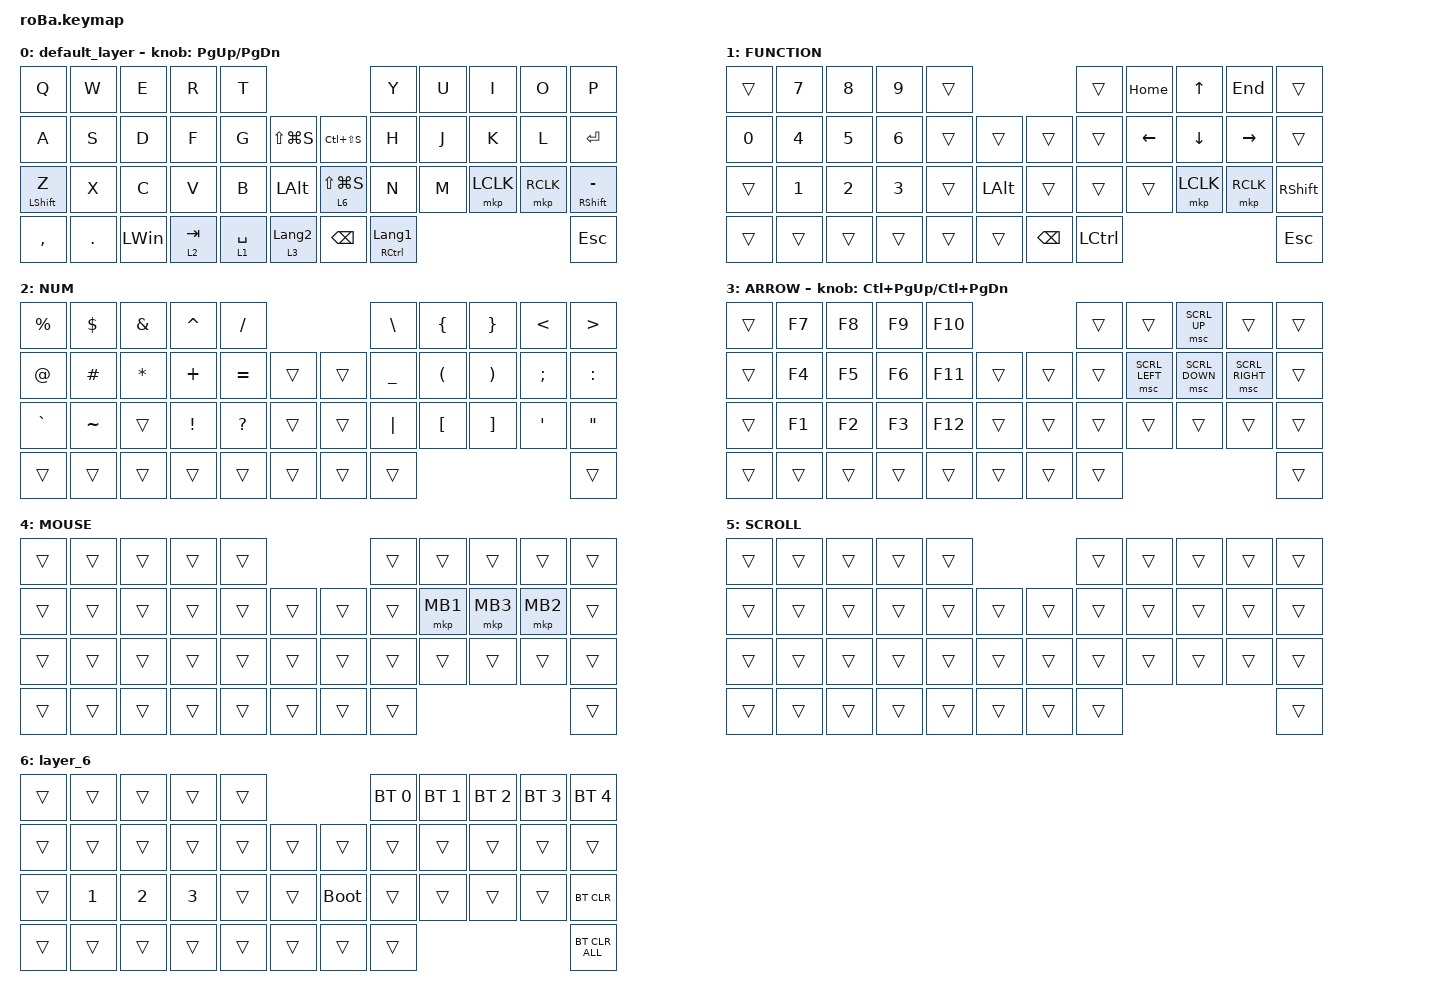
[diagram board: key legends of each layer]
#include <behaviors.dtsi>
#include <dt-bindings/zmk/bt.h>
#include <dt-bindings/zmk/keys.h>
#include <dt-bindings/zmk/pointing.h>

&mt {
    flavor = "balanced";
    quick-tap-ms = <0>;
};

&trackball {
    //automouse-layer = <4>;

    scroll-layers = <3>;

    // arrows {
    //     layers = <3>;
    //     bindings =
    //         <&kp RIGHT_ARROW>,
    //         <&kp LEFT_ARROW>,
    //         <&kp UP_ARROW>,
    //         <&kp DOWN_ARROW>;
    //     tick = <10>;
    //     wait-ms = <5>;
    //     tap-ms = <5>;
    // };
};

/ {
    combos {
        compatible = "zmk,combos";

        tab {
            bindings = <&kp TAB>;
            key-positions = <11 12>;
        };

        shift_tab {
            bindings = <&kp LS(TAB)>;
            key-positions = <12 13>;
        };

        muhennkann {
            bindings = <&to_layer_0 INT_MUHENKAN>;
            key-positions = <11 10>;
        };

        double_quotation {
            bindings = <&kp DOUBLE_QUOTES>;
            key-positions = <20 21>;
        };

        eq {
            bindings = <&kp EQUAL>;
            key-positions = <24 25>;
        };
    };

    macros {
        to_layer_0: to_layer_0 {
            compatible = "zmk,behavior-macro-one-param";
            #binding-cells = <1>;
            bindings = <&to 0 &macro_param_1to1 &kp MACRO_PLACEHOLDER>;
            label = "TO_LAYER_0";
        };
    };

    behaviors {
        lt_to_layer_0: lt_to_layer_0 {
            compatible = "zmk,behavior-hold-tap";
            label = "LAYER_TAP_TO_0";
            bindings = <&mo>, <&to_layer_0>;

            #binding-cells = <2>;
            tapping-term-ms = <200>;
        };
    };

    keymap {
        compatible = "zmk,keymap";

        default_layer {
            bindings = <
&kp Q             &kp W       &kp E         &kp R                 &kp T                                               &kp Y                 &kp U  &kp I      &kp O      &kp P
&kp A             &kp S       &kp D         &kp F                 &kp G        &kp LS(LG(S))         &kp LC(LS(S))    &kp H                 &kp J  &kp K      &kp L      &kp ENTER
&mt LEFT_SHIFT Z  &kp X       &kp C         &kp V                 &kp B        &kp LEFT_ALT          &lt 6 LS(LG(S))  &kp N                 &kp M  &mkp LCLK  &mkp RCLK  &mt RIGHT_SHIFT MINUS
&kp COMMA         &kp PERIOD  &kp LEFT_WIN  &lt_to_layer_0 2 TAB  &lt 1 SPACE  &lt 3 LANGUAGE_2      &kp BACKSPACE    &mt RCTRL LANGUAGE_1                               &kp ESC
            >;

            sensor-bindings = <&inc_dec_kp PG_UP PAGE_DOWN>;
        };

        FUNCTION {
            bindings = <
&trans        &kp NUMBER_7  &kp NUMBER_8  &kp NUMBER_9  &trans                                   &trans     &kp HOME        &kp UP_ARROW    &kp END          &trans
&kp NUMBER_0  &kp NUMBER_4  &kp NUMBER_5  &kp NUMBER_6  &trans  &trans            &trans         &trans     &kp LEFT_ARROW  &kp DOWN_ARROW  &kp RIGHT_ARROW  &trans
&trans        &kp NUMBER_1  &kp NUMBER_2  &kp NUMBER_3  &trans  &kp LEFT_ALT      &trans         &trans     &trans          &mkp LCLK       &mkp RCLK        &kp RIGHT_SHIFT
&trans        &trans        &trans        &trans        &trans  &trans            &kp BACKSPACE  &kp LCTRL                                                   &kp ESC
            >;
        };

        NUM {
            bindings = <
&kp PERCENT  &kp DOLLAR  &kp AMPERSAND  &kp CARET        &kp SLASH                         &kp BACKSLASH   &kp LEFT_BRACE        &kp RIGHT_BRACE        &kp LESS_THAN     &kp GREATER_THAN
&kp AT_SIGN  &kp HASH    &kp ASTERISK   &kp PLUS         &kp EQUAL     &trans      &trans  &kp UNDERSCORE  &kp LEFT_PARENTHESIS  &kp RIGHT_PARENTHESIS  &kp SEMICOLON     &kp COLON
&kp GRAVE    &kp TILDE   &trans         &kp EXCLAMATION  &kp QUESTION  &trans      &trans  &kp PIPE        &kp LEFT_BRACKET      &kp RIGHT_BRACKET      &kp SINGLE_QUOTE  &kp DOUBLE_QUOTES
&trans       &trans      &trans         &trans           &trans        &trans      &trans  &trans                                                                         &trans
            >;
        };

        ARROW {
            bindings = <
&trans  &kp F7  &kp F8  &kp F9  &kp F10                      &trans  &trans          &msc SCRL_UP    &trans           &trans
&trans  &kp F4  &kp F5  &kp F6  &kp F11  &trans      &trans  &trans  &msc SCRL_LEFT  &msc SCRL_DOWN  &msc SCRL_RIGHT  &trans
&trans  &kp F1  &kp F2  &kp F3  &kp F12  &trans      &trans  &trans  &trans          &trans          &trans           &trans
&trans  &trans  &trans  &trans  &trans   &trans      &trans  &trans                                                   &trans
            >;

            sensor-bindings = <&inc_dec_kp LC(PAGE_UP) LC(PAGE_DOWN)>;
        };

        MOUSE {
            bindings = <
&trans  &trans  &trans  &trans  &trans                      &trans  &trans    &trans    &trans    &trans
&trans  &trans  &trans  &trans  &trans  &trans      &trans  &trans  &mkp MB1  &mkp MB3  &mkp MB2  &trans
&trans  &trans  &trans  &trans  &trans  &trans      &trans  &trans  &trans    &trans    &trans    &trans
&trans  &trans  &trans  &trans  &trans  &trans      &trans  &trans                                &trans
            >;
        };

        SCROLL {
            bindings = <
&trans  &trans  &trans  &trans  &trans                      &trans  &trans  &trans  &trans  &trans
&trans  &trans  &trans  &trans  &trans  &trans      &trans  &trans  &trans  &trans  &trans  &trans
&trans  &trans  &trans  &trans  &trans  &trans      &trans  &trans  &trans  &trans  &trans  &trans
&trans  &trans  &trans  &trans  &trans  &trans      &trans  &trans                          &trans
            >;
        };

        layer_6 {
            bindings = <
&trans  &trans        &trans        &trans        &trans                           &bt BT_SEL 0  &bt BT_SEL 1  &bt BT_SEL 2  &bt BT_SEL 3  &bt BT_SEL 4
&trans  &trans        &trans        &trans        &trans  &trans      &trans       &trans        &trans        &trans        &trans        &trans
&trans  &kp NUMBER_1  &kp NUMBER_2  &kp NUMBER_3  &trans  &trans      &bootloader  &trans        &trans        &trans        &trans        &bt BT_CLR
&trans  &trans        &trans        &trans        &trans  &trans      &trans       &trans                                                  &bt BT_CLR_ALL
            >;
        };
    };
};
